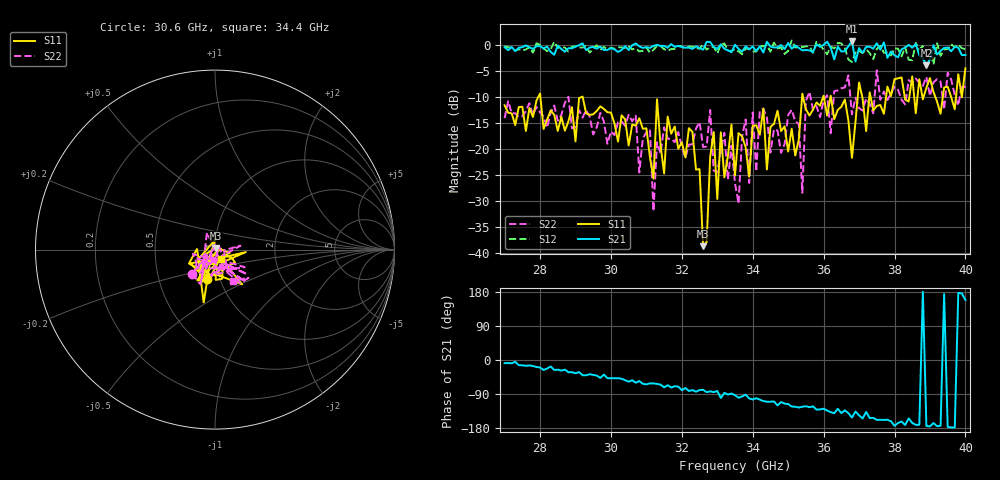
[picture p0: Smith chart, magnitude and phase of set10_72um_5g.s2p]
! Quiescent point : V1=-1.49674E-02 I1=+1.25698E-03 V2=-2.15892E-02 I2=-1.24728E-03
! Pulsed point : V1=-1.66812E-02 I1=+1.27365E-03 V2=-2.18540E-02 I2=-1.26146E-03
! Period : +2.00000E-04
! Input Supply timing : delay=+1.60000E-06 width=+2.20000E-06
! Output Supply timing : delay=+1.70000E-06 width=+2.00000E-06
! VNA timing : delay=+2.40000E-06 width=+1.10000E-06
# Hz S RI R 50
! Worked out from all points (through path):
!   131 points, 27 GHz to 40 GHz, reference 50 ohm
!   highest |S21| = 0.79 dB at 36.8 GHz (marker M1); lowest = -3.8 dB at 38.9 GHz (marker M2)
!   group delay of S21, straight-line fit = 39.2 ps
!   lowest |S11| = -38.8 dB at 32.6 GHz (marker M3), VSWR 1.02, Z = 50.6 + j0.978 ohm
!   |S11| at or under -10 dB: start of sweep to 27.95 GHz; 28.01 GHz to 29.16 GHz (1.153 GHz wide, 4.03 % of centre); 29.2 GHz to 35.39 GHz (6.189 GHz wide, 19.2 % of centre)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
!   |S22| runs from -32.0 to -4.8 dB; largest |S21 - S12| = 0.44
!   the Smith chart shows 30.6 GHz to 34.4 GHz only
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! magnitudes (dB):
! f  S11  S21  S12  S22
! 27 GHz  -11.6  -0.4  -0.2  -14.1
! 29.2 GHz  -9.9  0.4  -0.4  -14.0
! 31.1 GHz  -21.6  -0.5  -1.4  -16.3
! 31.2 GHz  -25.7  -0.1  -0.9  -32.0
! 31.3 GHz  -10.4  0.1  -0.1  -18.7
! 31.4 GHz  -19.3  -0.1  -0.2  -20.8
! 32.3 GHz  -16.7  -0.7  -0.3  -19.1
! 32.6 GHz  -38.8  -0.8  0.2  -19.6
! 32.8 GHz  -21.5  0.6  -0.3  -12.5
! 32.9 GHz  -16.7  -0.3  -0.3  -24.2
! 33 GHz  -29.6  -0.7  -1.6  -24.5
! 33.1 GHz  -16.8  0.2  0.1  -20.4
! 33.5 GHz  -25.1  0.1  -0.7  -26.6
! 35.1 GHz  -16.1  -0.7  0.9  -12.4
! 35.4 GHz  -9.3  -1.0  -0.3  -28.5
! 35.5 GHz  -12.4  -0.9  -0.2  -10.7
! 35.7 GHz  -12.4  -1.3  -1.5  -12.4
! 36.8 GHz  -21.7  0.8  -3.2  -13.3
! 37 GHz  -7.2  -0.5  -1.1  -12.1
! 37.9 GHz  -9.8  -1.2  -2.0  -9.3
! 38.9 GHz  -8.2  -3.8  -1.0  -6.1
! 40 GHz  -4.4  -1.9  -0.8  -8.2
